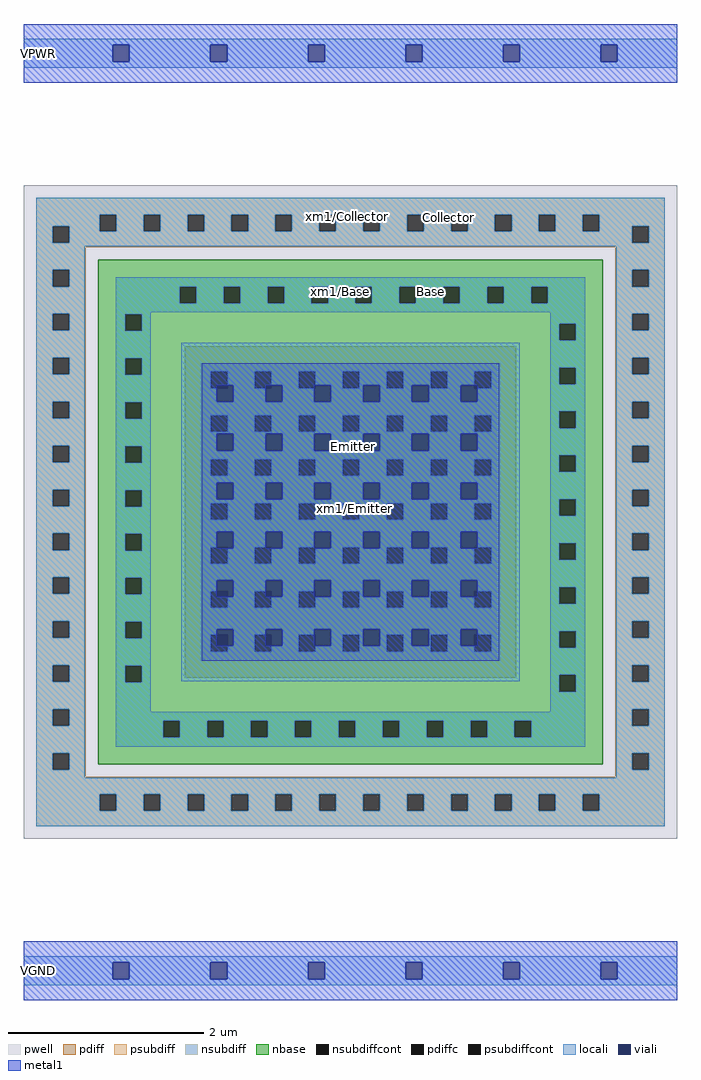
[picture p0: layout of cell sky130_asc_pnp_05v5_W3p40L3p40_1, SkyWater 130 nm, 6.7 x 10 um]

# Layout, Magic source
magic
tech sky130A
magscale 1 2
<< pwell >>
rect 120 1457 1460 1610
rect 120 423 273 1457
rect 1307 423 1460 1457
rect 120 270 1460 423
<< nbase >>
rect 273 423 1307 1457
<< pdiff >>
rect 450 1228 1130 1280
rect 450 1194 504 1228
rect 538 1194 594 1228
rect 628 1194 684 1228
rect 718 1194 774 1228
rect 808 1194 864 1228
rect 898 1194 954 1228
rect 988 1194 1044 1228
rect 1078 1194 1130 1228
rect 450 1138 1130 1194
rect 450 1104 504 1138
rect 538 1104 594 1138
rect 628 1104 684 1138
rect 718 1104 774 1138
rect 808 1104 864 1138
rect 898 1104 954 1138
rect 988 1104 1044 1138
rect 1078 1104 1130 1138
rect 450 1048 1130 1104
rect 450 1014 504 1048
rect 538 1014 594 1048
rect 628 1014 684 1048
rect 718 1014 774 1048
rect 808 1014 864 1048
rect 898 1014 954 1048
rect 988 1014 1044 1048
rect 1078 1014 1130 1048
rect 450 958 1130 1014
rect 450 924 504 958
rect 538 924 594 958
rect 628 924 684 958
rect 718 924 774 958
rect 808 924 864 958
rect 898 924 954 958
rect 988 924 1044 958
rect 1078 924 1130 958
rect 450 868 1130 924
rect 450 834 504 868
rect 538 834 594 868
rect 628 834 684 868
rect 718 834 774 868
rect 808 834 864 868
rect 898 834 954 868
rect 988 834 1044 868
rect 1078 834 1130 868
rect 450 778 1130 834
rect 450 744 504 778
rect 538 744 594 778
rect 628 744 684 778
rect 718 744 774 778
rect 808 744 864 778
rect 898 744 954 778
rect 988 744 1044 778
rect 1078 744 1130 778
rect 450 688 1130 744
rect 450 654 504 688
rect 538 654 594 688
rect 628 654 684 688
rect 718 654 774 688
rect 808 654 864 688
rect 898 654 954 688
rect 988 654 1044 688
rect 1078 654 1130 688
rect 450 600 1130 654
<< pdiffc >>
rect 504 1194 538 1228
rect 594 1194 628 1228
rect 684 1194 718 1228
rect 774 1194 808 1228
rect 864 1194 898 1228
rect 954 1194 988 1228
rect 1044 1194 1078 1228
rect 504 1104 538 1138
rect 594 1104 628 1138
rect 684 1104 718 1138
rect 774 1104 808 1138
rect 864 1104 898 1138
rect 954 1104 988 1138
rect 1044 1104 1078 1138
rect 504 1014 538 1048
rect 594 1014 628 1048
rect 684 1014 718 1048
rect 774 1014 808 1048
rect 864 1014 898 1048
rect 954 1014 988 1048
rect 1044 1014 1078 1048
rect 504 924 538 958
rect 594 924 628 958
rect 684 924 718 958
rect 774 924 808 958
rect 864 924 898 958
rect 954 924 988 958
rect 1044 924 1078 958
rect 504 834 538 868
rect 594 834 628 868
rect 684 834 718 868
rect 774 834 808 868
rect 864 834 898 868
rect 954 834 988 868
rect 1044 834 1078 868
rect 504 744 538 778
rect 594 744 628 778
rect 684 744 718 778
rect 774 744 808 778
rect 864 744 898 778
rect 954 744 988 778
rect 1044 744 1078 778
rect 504 654 538 688
rect 594 654 628 688
rect 684 654 718 688
rect 774 654 808 688
rect 864 654 898 688
rect 954 654 988 688
rect 1044 654 1078 688
<< psubdiff >>
rect 146 1549 1434 1584
rect 146 1526 276 1549
rect 146 1492 180 1526
rect 214 1515 276 1526
rect 310 1515 366 1549
rect 400 1515 456 1549
rect 490 1515 546 1549
rect 580 1515 636 1549
rect 670 1515 726 1549
rect 760 1515 816 1549
rect 850 1515 906 1549
rect 940 1515 996 1549
rect 1030 1515 1086 1549
rect 1120 1515 1176 1549
rect 1210 1515 1266 1549
rect 1300 1526 1434 1549
rect 1300 1515 1367 1526
rect 214 1492 1367 1515
rect 1401 1492 1434 1526
rect 146 1483 1434 1492
rect 146 1436 247 1483
rect 146 1402 180 1436
rect 214 1402 247 1436
rect 1333 1436 1434 1483
rect 146 1346 247 1402
rect 146 1312 180 1346
rect 214 1312 247 1346
rect 146 1256 247 1312
rect 146 1222 180 1256
rect 214 1222 247 1256
rect 146 1166 247 1222
rect 146 1132 180 1166
rect 214 1132 247 1166
rect 146 1076 247 1132
rect 146 1042 180 1076
rect 214 1042 247 1076
rect 146 986 247 1042
rect 146 952 180 986
rect 214 952 247 986
rect 146 896 247 952
rect 146 862 180 896
rect 214 862 247 896
rect 146 806 247 862
rect 146 772 180 806
rect 214 772 247 806
rect 146 716 247 772
rect 146 682 180 716
rect 214 682 247 716
rect 146 626 247 682
rect 146 592 180 626
rect 214 592 247 626
rect 146 536 247 592
rect 146 502 180 536
rect 214 502 247 536
rect 146 446 247 502
rect 1333 1402 1367 1436
rect 1401 1402 1434 1436
rect 1333 1346 1434 1402
rect 1333 1312 1367 1346
rect 1401 1312 1434 1346
rect 1333 1256 1434 1312
rect 1333 1222 1367 1256
rect 1401 1222 1434 1256
rect 1333 1166 1434 1222
rect 1333 1132 1367 1166
rect 1401 1132 1434 1166
rect 1333 1076 1434 1132
rect 1333 1042 1367 1076
rect 1401 1042 1434 1076
rect 1333 986 1434 1042
rect 1333 952 1367 986
rect 1401 952 1434 986
rect 1333 896 1434 952
rect 1333 862 1367 896
rect 1401 862 1434 896
rect 1333 806 1434 862
rect 1333 772 1367 806
rect 1401 772 1434 806
rect 1333 716 1434 772
rect 1333 682 1367 716
rect 1401 682 1434 716
rect 1333 626 1434 682
rect 1333 592 1367 626
rect 1401 592 1434 626
rect 1333 536 1434 592
rect 1333 502 1367 536
rect 1401 502 1434 536
rect 146 412 180 446
rect 214 412 247 446
rect 146 397 247 412
rect 1333 446 1434 502
rect 1333 412 1367 446
rect 1401 412 1434 446
rect 1333 397 1434 412
rect 146 362 1434 397
rect 146 328 276 362
rect 310 328 366 362
rect 400 328 456 362
rect 490 328 546 362
rect 580 328 636 362
rect 670 328 726 362
rect 760 328 816 362
rect 850 328 906 362
rect 940 328 996 362
rect 1030 328 1086 362
rect 1120 328 1176 362
rect 1210 328 1266 362
rect 1300 328 1434 362
rect 146 296 1434 328
<< nsubdiff >>
rect 309 1402 1271 1421
rect 309 1368 440 1402
rect 474 1368 530 1402
rect 564 1368 620 1402
rect 654 1368 710 1402
rect 744 1368 800 1402
rect 834 1368 890 1402
rect 924 1368 980 1402
rect 1014 1368 1070 1402
rect 1104 1368 1160 1402
rect 1194 1368 1271 1402
rect 309 1349 1271 1368
rect 309 1345 381 1349
rect 309 1311 328 1345
rect 362 1311 381 1345
rect 309 1255 381 1311
rect 1199 1326 1271 1349
rect 1199 1292 1218 1326
rect 1252 1292 1271 1326
rect 309 1221 328 1255
rect 362 1221 381 1255
rect 309 1165 381 1221
rect 309 1131 328 1165
rect 362 1131 381 1165
rect 309 1075 381 1131
rect 309 1041 328 1075
rect 362 1041 381 1075
rect 309 985 381 1041
rect 309 951 328 985
rect 362 951 381 985
rect 309 895 381 951
rect 309 861 328 895
rect 362 861 381 895
rect 309 805 381 861
rect 309 771 328 805
rect 362 771 381 805
rect 309 715 381 771
rect 309 681 328 715
rect 362 681 381 715
rect 309 625 381 681
rect 309 591 328 625
rect 362 591 381 625
rect 1199 1236 1271 1292
rect 1199 1202 1218 1236
rect 1252 1202 1271 1236
rect 1199 1146 1271 1202
rect 1199 1112 1218 1146
rect 1252 1112 1271 1146
rect 1199 1056 1271 1112
rect 1199 1022 1218 1056
rect 1252 1022 1271 1056
rect 1199 966 1271 1022
rect 1199 932 1218 966
rect 1252 932 1271 966
rect 1199 876 1271 932
rect 1199 842 1218 876
rect 1252 842 1271 876
rect 1199 786 1271 842
rect 1199 752 1218 786
rect 1252 752 1271 786
rect 1199 696 1271 752
rect 1199 662 1218 696
rect 1252 662 1271 696
rect 1199 606 1271 662
rect 309 531 381 591
rect 1199 572 1218 606
rect 1252 572 1271 606
rect 1199 531 1271 572
rect 309 512 1271 531
rect 309 478 406 512
rect 440 478 496 512
rect 530 478 586 512
rect 620 478 676 512
rect 710 478 766 512
rect 800 478 856 512
rect 890 478 946 512
rect 980 478 1036 512
rect 1070 478 1126 512
rect 1160 478 1271 512
rect 309 459 1271 478
<< psubdiffcont >>
rect 180 1492 214 1526
rect 276 1515 310 1549
rect 366 1515 400 1549
rect 456 1515 490 1549
rect 546 1515 580 1549
rect 636 1515 670 1549
rect 726 1515 760 1549
rect 816 1515 850 1549
rect 906 1515 940 1549
rect 996 1515 1030 1549
rect 1086 1515 1120 1549
rect 1176 1515 1210 1549
rect 1266 1515 1300 1549
rect 1367 1492 1401 1526
rect 180 1402 214 1436
rect 180 1312 214 1346
rect 180 1222 214 1256
rect 180 1132 214 1166
rect 180 1042 214 1076
rect 180 952 214 986
rect 180 862 214 896
rect 180 772 214 806
rect 180 682 214 716
rect 180 592 214 626
rect 180 502 214 536
rect 1367 1402 1401 1436
rect 1367 1312 1401 1346
rect 1367 1222 1401 1256
rect 1367 1132 1401 1166
rect 1367 1042 1401 1076
rect 1367 952 1401 986
rect 1367 862 1401 896
rect 1367 772 1401 806
rect 1367 682 1401 716
rect 1367 592 1401 626
rect 1367 502 1401 536
rect 180 412 214 446
rect 1367 412 1401 446
rect 276 328 310 362
rect 366 328 400 362
rect 456 328 490 362
rect 546 328 580 362
rect 636 328 670 362
rect 726 328 760 362
rect 816 328 850 362
rect 906 328 940 362
rect 996 328 1030 362
rect 1086 328 1120 362
rect 1176 328 1210 362
rect 1266 328 1300 362
<< nsubdiffcont >>
rect 440 1368 474 1402
rect 530 1368 564 1402
rect 620 1368 654 1402
rect 710 1368 744 1402
rect 800 1368 834 1402
rect 890 1368 924 1402
rect 980 1368 1014 1402
rect 1070 1368 1104 1402
rect 1160 1368 1194 1402
rect 328 1311 362 1345
rect 1218 1292 1252 1326
rect 328 1221 362 1255
rect 328 1131 362 1165
rect 328 1041 362 1075
rect 328 951 362 985
rect 328 861 362 895
rect 328 771 362 805
rect 328 681 362 715
rect 328 591 362 625
rect 1218 1202 1252 1236
rect 1218 1112 1252 1146
rect 1218 1022 1252 1056
rect 1218 932 1252 966
rect 1218 842 1252 876
rect 1218 752 1252 786
rect 1218 662 1252 696
rect 1218 572 1252 606
rect 406 478 440 512
rect 496 478 530 512
rect 586 478 620 512
rect 676 478 710 512
rect 766 478 800 512
rect 856 478 890 512
rect 946 478 980 512
rect 1036 478 1070 512
rect 1126 478 1160 512
<< locali >>
rect 120 1897 1460 1910
rect 120 1863 303 1897
rect 337 1863 503 1897
rect 537 1863 703 1897
rect 737 1863 903 1897
rect 937 1863 1103 1897
rect 1137 1863 1303 1897
rect 1337 1863 1460 1897
rect 120 1850 1460 1863
rect 146 1549 1434 1584
rect 146 1526 276 1549
rect 146 1492 180 1526
rect 214 1515 276 1526
rect 310 1515 366 1549
rect 400 1515 456 1549
rect 490 1515 546 1549
rect 580 1515 636 1549
rect 670 1515 726 1549
rect 760 1515 816 1549
rect 850 1515 906 1549
rect 940 1515 996 1549
rect 1030 1515 1086 1549
rect 1120 1515 1176 1549
rect 1210 1515 1266 1549
rect 1300 1526 1434 1549
rect 1300 1515 1367 1526
rect 214 1492 1367 1515
rect 1401 1492 1434 1526
rect 146 1485 1434 1492
rect 146 1436 245 1485
rect 146 1402 180 1436
rect 214 1402 245 1436
rect 1335 1436 1434 1485
rect 146 1346 245 1402
rect 146 1312 180 1346
rect 214 1312 245 1346
rect 146 1256 245 1312
rect 146 1222 180 1256
rect 214 1222 245 1256
rect 146 1166 245 1222
rect 146 1132 180 1166
rect 214 1132 245 1166
rect 146 1076 245 1132
rect 146 1042 180 1076
rect 214 1042 245 1076
rect 146 986 245 1042
rect 146 952 180 986
rect 214 952 245 986
rect 146 896 245 952
rect 146 862 180 896
rect 214 862 245 896
rect 146 806 245 862
rect 146 772 180 806
rect 214 772 245 806
rect 146 716 245 772
rect 146 682 180 716
rect 214 682 245 716
rect 146 626 245 682
rect 146 592 180 626
rect 214 592 245 626
rect 146 536 245 592
rect 146 502 180 536
rect 214 502 245 536
rect 146 446 245 502
rect 309 1402 1271 1421
rect 309 1368 440 1402
rect 474 1368 530 1402
rect 564 1368 620 1402
rect 654 1368 710 1402
rect 744 1368 800 1402
rect 834 1368 890 1402
rect 924 1368 980 1402
rect 1014 1368 1070 1402
rect 1104 1368 1160 1402
rect 1194 1368 1271 1402
rect 309 1349 1271 1368
rect 309 1345 381 1349
rect 309 1311 328 1345
rect 362 1311 381 1345
rect 309 1255 381 1311
rect 1199 1326 1271 1349
rect 1199 1292 1218 1326
rect 1252 1292 1271 1326
rect 309 1221 328 1255
rect 362 1221 381 1255
rect 309 1165 381 1221
rect 309 1131 328 1165
rect 362 1131 381 1165
rect 309 1075 381 1131
rect 309 1041 328 1075
rect 362 1041 381 1075
rect 309 985 381 1041
rect 309 951 328 985
rect 362 951 381 985
rect 309 895 381 951
rect 309 861 328 895
rect 362 861 381 895
rect 309 805 381 861
rect 309 771 328 805
rect 362 771 381 805
rect 309 715 381 771
rect 309 681 328 715
rect 362 681 381 715
rect 309 625 381 681
rect 309 591 328 625
rect 362 591 381 625
rect 443 1228 1137 1287
rect 443 1194 504 1228
rect 538 1200 594 1228
rect 628 1200 684 1228
rect 718 1200 774 1228
rect 550 1194 594 1200
rect 650 1194 684 1200
rect 750 1194 774 1200
rect 808 1200 864 1228
rect 808 1194 816 1200
rect 443 1166 516 1194
rect 550 1166 616 1194
rect 650 1166 716 1194
rect 750 1166 816 1194
rect 850 1194 864 1200
rect 898 1200 954 1228
rect 898 1194 916 1200
rect 850 1166 916 1194
rect 950 1194 954 1200
rect 988 1200 1044 1228
rect 988 1194 1016 1200
rect 1078 1194 1137 1228
rect 950 1166 1016 1194
rect 1050 1166 1137 1194
rect 443 1138 1137 1166
rect 443 1104 504 1138
rect 538 1104 594 1138
rect 628 1104 684 1138
rect 718 1104 774 1138
rect 808 1104 864 1138
rect 898 1104 954 1138
rect 988 1104 1044 1138
rect 1078 1104 1137 1138
rect 443 1100 1137 1104
rect 443 1066 516 1100
rect 550 1066 616 1100
rect 650 1066 716 1100
rect 750 1066 816 1100
rect 850 1066 916 1100
rect 950 1066 1016 1100
rect 1050 1066 1137 1100
rect 443 1048 1137 1066
rect 443 1014 504 1048
rect 538 1014 594 1048
rect 628 1014 684 1048
rect 718 1014 774 1048
rect 808 1014 864 1048
rect 898 1014 954 1048
rect 988 1014 1044 1048
rect 1078 1014 1137 1048
rect 443 1000 1137 1014
rect 443 966 516 1000
rect 550 966 616 1000
rect 650 966 716 1000
rect 750 966 816 1000
rect 850 966 916 1000
rect 950 966 1016 1000
rect 1050 966 1137 1000
rect 443 958 1137 966
rect 443 924 504 958
rect 538 924 594 958
rect 628 924 684 958
rect 718 924 774 958
rect 808 924 864 958
rect 898 924 954 958
rect 988 924 1044 958
rect 1078 924 1137 958
rect 443 900 1137 924
rect 443 868 516 900
rect 550 868 616 900
rect 650 868 716 900
rect 750 868 816 900
rect 443 834 504 868
rect 550 866 594 868
rect 650 866 684 868
rect 750 866 774 868
rect 538 834 594 866
rect 628 834 684 866
rect 718 834 774 866
rect 808 866 816 868
rect 850 868 916 900
rect 850 866 864 868
rect 808 834 864 866
rect 898 866 916 868
rect 950 868 1016 900
rect 1050 868 1137 900
rect 950 866 954 868
rect 898 834 954 866
rect 988 866 1016 868
rect 988 834 1044 866
rect 1078 834 1137 868
rect 443 800 1137 834
rect 443 778 516 800
rect 550 778 616 800
rect 650 778 716 800
rect 750 778 816 800
rect 443 744 504 778
rect 550 766 594 778
rect 650 766 684 778
rect 750 766 774 778
rect 538 744 594 766
rect 628 744 684 766
rect 718 744 774 766
rect 808 766 816 778
rect 850 778 916 800
rect 850 766 864 778
rect 808 744 864 766
rect 898 766 916 778
rect 950 778 1016 800
rect 1050 778 1137 800
rect 950 766 954 778
rect 898 744 954 766
rect 988 766 1016 778
rect 988 744 1044 766
rect 1078 744 1137 778
rect 443 700 1137 744
rect 443 688 516 700
rect 550 688 616 700
rect 650 688 716 700
rect 750 688 816 700
rect 443 654 504 688
rect 550 666 594 688
rect 650 666 684 688
rect 750 666 774 688
rect 538 654 594 666
rect 628 654 684 666
rect 718 654 774 666
rect 808 666 816 688
rect 850 688 916 700
rect 850 666 864 688
rect 808 654 864 666
rect 898 666 916 688
rect 950 688 1016 700
rect 1050 688 1137 700
rect 950 666 954 688
rect 898 654 954 666
rect 988 666 1016 688
rect 988 654 1044 666
rect 1078 654 1137 688
rect 443 593 1137 654
rect 1199 1236 1271 1292
rect 1199 1202 1218 1236
rect 1252 1202 1271 1236
rect 1199 1146 1271 1202
rect 1199 1112 1218 1146
rect 1252 1112 1271 1146
rect 1199 1056 1271 1112
rect 1199 1022 1218 1056
rect 1252 1022 1271 1056
rect 1199 966 1271 1022
rect 1199 932 1218 966
rect 1252 932 1271 966
rect 1199 876 1271 932
rect 1199 842 1218 876
rect 1252 842 1271 876
rect 1199 786 1271 842
rect 1199 752 1218 786
rect 1252 752 1271 786
rect 1199 696 1271 752
rect 1199 662 1218 696
rect 1252 662 1271 696
rect 1199 606 1271 662
rect 309 531 381 591
rect 1199 572 1218 606
rect 1252 572 1271 606
rect 1199 531 1271 572
rect 309 512 1271 531
rect 309 478 406 512
rect 440 478 496 512
rect 530 478 586 512
rect 620 478 676 512
rect 710 478 766 512
rect 800 478 856 512
rect 890 478 946 512
rect 980 478 1036 512
rect 1070 478 1126 512
rect 1160 478 1271 512
rect 309 459 1271 478
rect 1335 1402 1367 1436
rect 1401 1402 1434 1436
rect 1335 1346 1434 1402
rect 1335 1312 1367 1346
rect 1401 1312 1434 1346
rect 1335 1256 1434 1312
rect 1335 1222 1367 1256
rect 1401 1222 1434 1256
rect 1335 1166 1434 1222
rect 1335 1132 1367 1166
rect 1401 1132 1434 1166
rect 1335 1076 1434 1132
rect 1335 1042 1367 1076
rect 1401 1042 1434 1076
rect 1335 986 1434 1042
rect 1335 952 1367 986
rect 1401 952 1434 986
rect 1335 896 1434 952
rect 1335 862 1367 896
rect 1401 862 1434 896
rect 1335 806 1434 862
rect 1335 772 1367 806
rect 1401 772 1434 806
rect 1335 716 1434 772
rect 1335 682 1367 716
rect 1401 682 1434 716
rect 1335 626 1434 682
rect 1335 592 1367 626
rect 1401 592 1434 626
rect 1335 536 1434 592
rect 1335 502 1367 536
rect 1401 502 1434 536
rect 146 412 180 446
rect 214 412 245 446
rect 146 395 245 412
rect 1335 446 1434 502
rect 1335 412 1367 446
rect 1401 412 1434 446
rect 1335 395 1434 412
rect 146 362 1434 395
rect 146 328 276 362
rect 310 328 366 362
rect 400 328 456 362
rect 490 328 546 362
rect 580 328 636 362
rect 670 328 726 362
rect 760 328 816 362
rect 850 328 906 362
rect 940 328 996 362
rect 1030 328 1086 362
rect 1120 328 1176 362
rect 1210 328 1266 362
rect 1300 328 1434 362
rect 146 296 1434 328
rect 120 17 1460 30
rect 120 -17 303 17
rect 337 -17 503 17
rect 537 -17 703 17
rect 737 -17 903 17
rect 937 -17 1103 17
rect 1137 -17 1303 17
rect 1337 -17 1460 17
rect 120 -30 1460 -17
<< viali >>
rect 303 1863 337 1897
rect 503 1863 537 1897
rect 703 1863 737 1897
rect 903 1863 937 1897
rect 1103 1863 1137 1897
rect 1303 1863 1337 1897
rect 516 1194 538 1200
rect 538 1194 550 1200
rect 616 1194 628 1200
rect 628 1194 650 1200
rect 716 1194 718 1200
rect 718 1194 750 1200
rect 516 1166 550 1194
rect 616 1166 650 1194
rect 716 1166 750 1194
rect 816 1166 850 1200
rect 916 1166 950 1200
rect 1016 1194 1044 1200
rect 1044 1194 1050 1200
rect 1016 1166 1050 1194
rect 516 1066 550 1100
rect 616 1066 650 1100
rect 716 1066 750 1100
rect 816 1066 850 1100
rect 916 1066 950 1100
rect 1016 1066 1050 1100
rect 516 966 550 1000
rect 616 966 650 1000
rect 716 966 750 1000
rect 816 966 850 1000
rect 916 966 950 1000
rect 1016 966 1050 1000
rect 516 868 550 900
rect 616 868 650 900
rect 716 868 750 900
rect 516 866 538 868
rect 538 866 550 868
rect 616 866 628 868
rect 628 866 650 868
rect 716 866 718 868
rect 718 866 750 868
rect 816 866 850 900
rect 916 866 950 900
rect 1016 868 1050 900
rect 1016 866 1044 868
rect 1044 866 1050 868
rect 516 778 550 800
rect 616 778 650 800
rect 716 778 750 800
rect 516 766 538 778
rect 538 766 550 778
rect 616 766 628 778
rect 628 766 650 778
rect 716 766 718 778
rect 718 766 750 778
rect 816 766 850 800
rect 916 766 950 800
rect 1016 778 1050 800
rect 1016 766 1044 778
rect 1044 766 1050 778
rect 516 688 550 700
rect 616 688 650 700
rect 716 688 750 700
rect 516 666 538 688
rect 538 666 550 688
rect 616 666 628 688
rect 628 666 650 688
rect 716 666 718 688
rect 718 666 750 688
rect 816 666 850 700
rect 916 666 950 700
rect 1016 688 1050 700
rect 1016 666 1044 688
rect 1044 666 1050 688
rect 303 -17 337 17
rect 503 -17 537 17
rect 703 -17 737 17
rect 903 -17 937 17
rect 1103 -17 1137 17
rect 1303 -17 1337 17
<< metal1 >>
rect 120 1897 1460 1940
rect 120 1863 303 1897
rect 337 1863 503 1897
rect 537 1863 703 1897
rect 737 1863 903 1897
rect 937 1863 1103 1897
rect 1137 1863 1303 1897
rect 1337 1863 1460 1897
rect 120 1820 1460 1863
rect 485 1200 1095 1245
rect 485 1166 516 1200
rect 550 1166 616 1200
rect 650 1166 716 1200
rect 750 1166 816 1200
rect 850 1166 916 1200
rect 950 1166 1016 1200
rect 1050 1166 1095 1200
rect 485 1100 1095 1166
rect 485 1066 516 1100
rect 550 1066 616 1100
rect 650 1066 716 1100
rect 750 1066 816 1100
rect 850 1066 916 1100
rect 950 1066 1016 1100
rect 1050 1066 1095 1100
rect 485 1000 1095 1066
rect 485 966 516 1000
rect 550 966 616 1000
rect 650 966 716 1000
rect 750 966 816 1000
rect 850 966 916 1000
rect 950 966 1016 1000
rect 1050 966 1095 1000
rect 485 900 1095 966
rect 485 866 516 900
rect 550 866 616 900
rect 650 866 716 900
rect 750 866 816 900
rect 850 866 916 900
rect 950 866 1016 900
rect 1050 866 1095 900
rect 485 800 1095 866
rect 485 766 516 800
rect 550 766 616 800
rect 650 766 716 800
rect 750 766 816 800
rect 850 766 916 800
rect 950 766 1016 800
rect 1050 766 1095 800
rect 485 700 1095 766
rect 485 666 516 700
rect 550 666 616 700
rect 650 666 716 700
rect 750 666 816 700
rect 850 666 916 700
rect 950 666 1016 700
rect 1050 666 1095 700
rect 485 635 1095 666
rect 120 17 1460 60
rect 120 -17 303 17
rect 337 -17 503 17
rect 537 -17 703 17
rect 737 -17 903 17
rect 937 -17 1103 17
rect 1137 -17 1303 17
rect 1337 -17 1460 17
rect 120 -60 1460 -17
<< labels >>
flabel locali s 674 896 922 1000 0 FreeSans 625 0 0 0 xm1/Emitter
port 1 nsew
flabel locali s 733 1522 834 1571 0 FreeSans 625 0 0 0 xm1/Collector
port 2 nsew
flabel locali s 710 1372 828 1412 0 FreeSans 625 0 0 0 xm1/Base
port 3 nsew
flabel locali s 682 1010 910 1140 1 FreeSans 750 0 0 0 Emitter
port 4 nsew
flabel locali s 894 1372 1014 1412 1 FreeSans 750 0 0 0 Base
port 5 nsew
flabel locali s 930 1524 1050 1564 1 FreeSans 750 0 0 0 Collector
port 6 nsew
flabel metal1 s 120 1850 180 1910 1 FreeSans 1250 0 0 0 VPWR
port 7 nsew
flabel metal1 s 120 -30 180 30 1 FreeSans 1250 0 0 0 VGND
port 8 nsew
<< properties >>
string FIXED_BBOX 0 0 1580 1880
<< end >>
